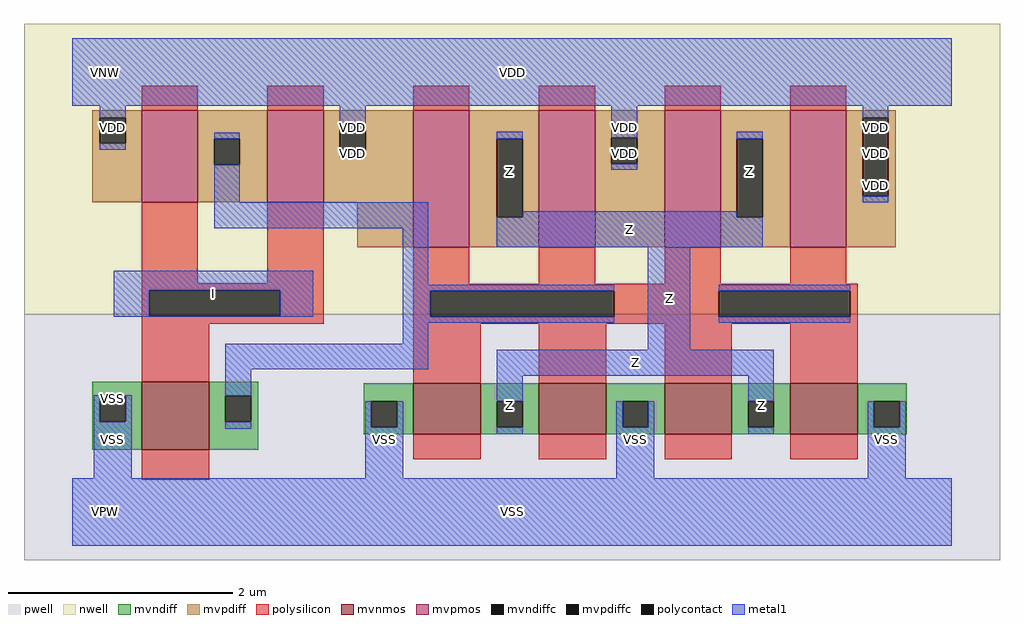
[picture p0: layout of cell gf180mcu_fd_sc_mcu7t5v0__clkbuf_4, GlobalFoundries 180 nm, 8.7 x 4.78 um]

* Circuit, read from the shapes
.subckt gf180mcu_fd_sc_mcu7t5v0__clkbuf_4 I Z VDD VNW VPW VSS
XM1 n1 I VSS VPW nfet_06v0 w=0.605u l=0.6u
XM2 Z n1 VSS VPW nfet_06v0 w=0.455u l=0.6u m=4
XM3 n1 I VDD VNW pfet_06v0 w=0.82u l=0.5u m=2
XM4 Z n1 VDD VNW pfet_06v0 w=1.22u l=0.5u m=4
.ends

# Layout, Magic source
magic
tech gf180mcuD
magscale 1 10
<< nwell >>
rect -86 352 1654 870
<< pwell >>
rect -86 -86 1654 352
<< mvnmos >>
rect 124 111 244 232
rect 608 138 728 229
rect 832 138 952 229
rect 1056 138 1176 229
rect 1280 138 1400 229
<< mvpmos >>
rect 124 552 224 716
rect 348 552 448 716
rect 608 472 708 716
rect 832 472 932 716
rect 1056 472 1156 716
rect 1280 472 1380 716
<< mvndiff >>
rect 36 207 124 232
rect 36 161 49 207
rect 95 161 124 207
rect 36 111 124 161
rect 244 207 332 232
rect 244 161 273 207
rect 319 161 332 207
rect 244 111 332 161
rect 520 197 608 229
rect 520 151 533 197
rect 579 151 608 197
rect 520 138 608 151
rect 728 197 832 229
rect 728 151 757 197
rect 803 151 832 197
rect 728 138 832 151
rect 952 197 1056 229
rect 952 151 981 197
rect 1027 151 1056 197
rect 952 138 1056 151
rect 1176 197 1280 229
rect 1176 151 1205 197
rect 1251 151 1280 197
rect 1176 138 1280 151
rect 1400 197 1488 229
rect 1400 151 1429 197
rect 1475 151 1488 197
rect 1400 138 1488 151
<< mvpdiff >>
rect 36 703 124 716
rect 36 657 49 703
rect 95 657 124 703
rect 36 552 124 657
rect 224 665 348 716
rect 224 619 253 665
rect 299 619 348 665
rect 224 552 348 619
rect 448 689 608 716
rect 448 643 477 689
rect 523 643 608 689
rect 448 552 608 643
rect 508 472 608 552
rect 708 665 832 716
rect 708 525 757 665
rect 803 525 832 665
rect 708 472 832 525
rect 932 667 1056 716
rect 932 621 961 667
rect 1007 621 1056 667
rect 932 472 1056 621
rect 1156 665 1280 716
rect 1156 525 1185 665
rect 1231 525 1280 665
rect 1156 472 1280 525
rect 1380 703 1468 716
rect 1380 563 1409 703
rect 1455 563 1468 703
rect 1380 472 1468 563
<< mvndiffc >>
rect 49 161 95 207
rect 273 161 319 207
rect 533 151 579 197
rect 757 151 803 197
rect 981 151 1027 197
rect 1205 151 1251 197
rect 1429 151 1475 197
<< mvpdiffc >>
rect 49 657 95 703
rect 253 619 299 665
rect 477 643 523 689
rect 757 525 803 665
rect 961 621 1007 667
rect 1185 525 1231 665
rect 1409 563 1455 703
<< polysilicon >>
rect 124 716 224 760
rect 348 716 448 760
rect 608 716 708 760
rect 832 716 932 760
rect 1056 716 1156 760
rect 1280 716 1380 760
rect 124 408 224 552
rect 348 408 448 552
rect 124 395 448 408
rect 124 349 137 395
rect 371 349 448 395
rect 124 335 448 349
rect 608 407 708 472
rect 832 407 932 472
rect 1056 407 1156 472
rect 1280 407 1380 472
rect 608 394 1400 407
rect 608 348 638 394
rect 966 348 1153 394
rect 1387 348 1400 394
rect 608 335 1400 348
rect 124 232 244 335
rect 608 229 728 335
rect 832 229 952 335
rect 1056 229 1176 335
rect 1280 229 1400 335
rect 124 57 244 111
rect 608 94 728 138
rect 832 94 952 138
rect 1056 94 1176 138
rect 1280 94 1400 138
<< polycontact >>
rect 137 349 371 395
rect 638 348 966 394
rect 1153 348 1387 394
<< metal1 >>
rect 0 724 1568 844
rect 49 703 95 724
rect 477 689 523 724
rect 49 646 95 657
rect 253 665 299 676
rect 477 632 523 643
rect 757 665 803 678
rect 253 552 299 619
rect 253 506 635 552
rect 74 395 430 430
rect 74 349 137 395
rect 371 349 430 395
rect 74 348 430 349
rect 589 405 635 506
rect 961 667 1007 724
rect 1409 703 1455 724
rect 961 610 1007 621
rect 1185 665 1231 678
rect 803 525 1185 536
rect 1409 552 1455 563
rect 757 472 1231 525
rect 589 394 966 405
rect 589 348 638 394
rect 589 337 966 348
rect 589 300 635 337
rect 273 254 635 300
rect 1026 289 1102 472
rect 1153 394 1387 405
rect 1153 337 1387 348
rect 38 207 106 208
rect 38 161 49 207
rect 95 161 106 207
rect 38 60 106 161
rect 273 207 319 254
rect 757 243 1251 289
rect 757 197 803 243
rect 1205 197 1251 243
rect 273 148 319 161
rect 522 151 533 197
rect 579 151 590 197
rect 522 60 590 151
rect 757 138 803 151
rect 970 151 981 197
rect 1027 151 1038 197
rect 970 60 1038 151
rect 1205 138 1251 151
rect 1418 151 1429 197
rect 1475 151 1486 197
rect 1418 60 1486 151
rect 0 -60 1568 60
<< labels >>
flabel metal1 s 1185 536 1231 678 0 FreeSans 600 0 0 0 Z
port 2 nsew default output
flabel metal1 s 38 197 106 208 0 FreeSans 400 0 0 0 VSS
port 6 nsew ground bidirectional abutment
flabel metal1 s 0 724 1568 844 0 FreeSans 400 0 0 0 VDD
port 3 nsew power bidirectional abutment
flabel metal1 s 74 348 430 430 0 FreeSans 600 0 0 0 I
port 1 nsew default input
flabel nwell s 10 734 110 834 0 FreeSans 400 0 0 0 VNW
port 4 nsew power bidirectional
flabel pwell s 10 -50 110 50 0 FreeSans 400 0 0 0 VPW
port 5 nsew ground bidirectional
rlabel metal1 s 757 536 803 678 1 Z
port 2 nsew default output
rlabel metal1 s 757 472 1231 536 1 Z
port 2 nsew default output
rlabel metal1 s 1026 289 1102 472 1 Z
port 2 nsew default output
rlabel metal1 s 757 243 1251 289 1 Z
port 2 nsew default output
rlabel metal1 s 1205 138 1251 243 1 Z
port 2 nsew default output
rlabel metal1 s 757 138 803 243 1 Z
port 2 nsew default output
rlabel metal1 s 1409 646 1455 724 1 VDD
port 3 nsew power bidirectional abutment
rlabel metal1 s 961 646 1007 724 1 VDD
port 3 nsew power bidirectional abutment
rlabel metal1 s 477 646 523 724 1 VDD
port 3 nsew power bidirectional abutment
rlabel metal1 s 49 646 95 724 1 VDD
port 3 nsew power bidirectional abutment
rlabel metal1 s 1409 632 1455 646 1 VDD
port 3 nsew power bidirectional abutment
rlabel metal1 s 961 632 1007 646 1 VDD
port 3 nsew power bidirectional abutment
rlabel metal1 s 477 632 523 646 1 VDD
port 3 nsew power bidirectional abutment
rlabel metal1 s 1409 610 1455 632 1 VDD
port 3 nsew power bidirectional abutment
rlabel metal1 s 961 610 1007 632 1 VDD
port 3 nsew power bidirectional abutment
rlabel metal1 s 1409 552 1455 610 1 VDD
port 3 nsew power bidirectional abutment
rlabel metal1 s 1418 60 1486 197 1 VSS
port 6 nsew ground bidirectional abutment
rlabel metal1 s 970 60 1038 197 1 VSS
port 6 nsew ground bidirectional abutment
rlabel metal1 s 522 60 590 197 1 VSS
port 6 nsew ground bidirectional abutment
rlabel metal1 s 38 60 106 197 1 VSS
port 6 nsew ground bidirectional abutment
rlabel metal1 s 0 -60 1568 60 1 VSS
port 6 nsew ground bidirectional abutment
<< properties >>
string FIXED_BBOX 0 0 1568 784
string GDS_END 773314
string GDS_FILE $PDKPATH/libs.ref/gf180mcu_fd_sc_mcu7t5v0/gds/gf180mcu_fd_sc_mcu7t5v0.gds
string GDS_START 768974
string LEFclass core
string LEFsite GF018hv5v_mcu_sc7
string LEFsymmetry X Y
<< end >>
